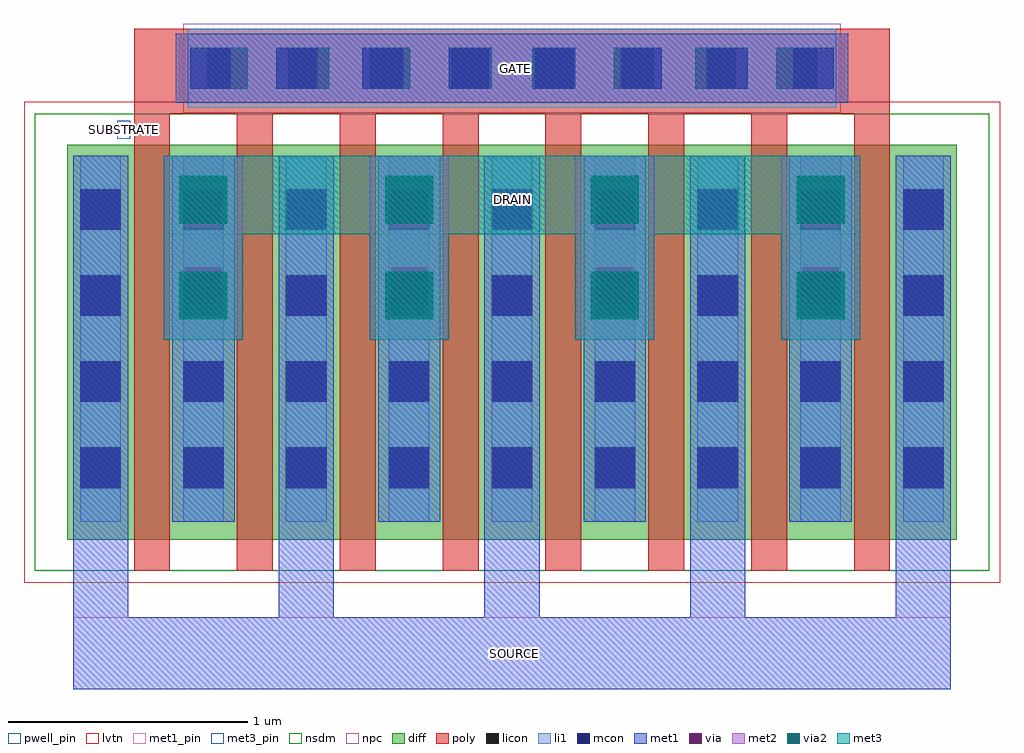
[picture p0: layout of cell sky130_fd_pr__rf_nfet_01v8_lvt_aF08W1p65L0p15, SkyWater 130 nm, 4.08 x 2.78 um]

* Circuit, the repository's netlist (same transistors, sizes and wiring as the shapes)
* Copyright 2020 The SkyWater PDK Authors
*
* Licensed under the Apache License, Version 2.0 (the "License");
* you may not use this file except in compliance with the License.
* You may obtain a copy of the License at
*
*     https://www.apache.org/licenses/LICENSE-2.0
*
* Unless required by applicable law or agreed to in writing, software
* distributed under the License is distributed on an "AS IS" BASIS,
* WITHOUT WARRANTIES OR CONDITIONS OF ANY KIND, either express or implied.
* See the License for the specific language governing permissions and
* limitations under the License.
*
* SPDX-License-Identifier: Apache-2.0


.subckt sky130_fd_pr__rf_nfet_01v8_lvt_aF08W1p65L0p15 DRAIN GATE SOURCE SUBSTRATE
X0 SOURCE GATE DRAIN SUBSTRATE sky130_fd_pr__nfet_01v8_lvt w=1.65e+06u l=150000u
X1 DRAIN GATE SOURCE SUBSTRATE sky130_fd_pr__nfet_01v8_lvt w=1.65e+06u l=150000u
X2 DRAIN GATE SOURCE SUBSTRATE sky130_fd_pr__nfet_01v8_lvt w=1.65e+06u l=150000u
X3 DRAIN GATE SOURCE SUBSTRATE sky130_fd_pr__nfet_01v8_lvt w=1.65e+06u l=150000u
X4 SOURCE GATE DRAIN SUBSTRATE sky130_fd_pr__nfet_01v8_lvt w=1.65e+06u l=150000u
X5 SOURCE GATE DRAIN SUBSTRATE sky130_fd_pr__nfet_01v8_lvt w=1.65e+06u l=150000u
X6 DRAIN GATE SOURCE SUBSTRATE sky130_fd_pr__nfet_01v8_lvt w=1.65e+06u l=150000u
X7 SOURCE GATE DRAIN SUBSTRATE sky130_fd_pr__nfet_01v8_lvt w=1.65e+06u l=150000u
.ends

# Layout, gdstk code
import gdstk
lib = gdstk.Library(unit=1e-6, precision=1e-09)
def R(c, l, rs):  # rectangles x0, y0, x1, y1
    for r in rs: c.add(gdstk.rectangle(r[:2], r[2:], *l))
def A(c, l, x, y, w, h, nx, ny, dx, dy):  # array of equal rectangles
    R(c, l, [(x+i*dx, y+j*dy, x+i*dx+w, y+j*dy+h) for i in range(nx) for j in range(ny)])
diff = (65, 20)
poly = (66, 20)
licon = (66, 44)
li1 = (67, 20)
mcon = (67, 44)
met1_pin = (68, 16)
met1 = (68, 20)
via = (68, 44)
met2 = (69, 20)
via2 = (69, 44)
met3_pin = (70, 16)
met3 = (70, 20)
nsdm = (93, 44)
npc = (95, 20)
pwell_pin = (122, 16)
lvtn = (125, 44)

sky130_fd_pr__rf_nfet_01 = lib.new_cell('sky130_fd_pr__rf_nfet_01v8_lvt_aF08W1p65L0p15')
A(sky130_fd_pr__rf_nfet_01, diff, 0.18, 0.18, 0.28, 1.65, 3, 1, 0.43, 0)
A(sky130_fd_pr__rf_nfet_01, diff, 0.21, 0.18, 0.25, 1.65, 4, 1, 0.86, 0)
A(sky130_fd_pr__rf_nfet_01, diff, 0.46, 0.18, 0.15, 1.65, 8, 1, 0.43, 0)
A(sky130_fd_pr__rf_nfet_01, diff, 1.04, 0.18, 0.28, 1.65, 3, 1, 0.43, 0)
A(sky130_fd_pr__rf_nfet_01, diff, 1.9, 0.18, 0.28, 1.65, 3, 1, 0.43, 0)
A(sky130_fd_pr__rf_nfet_01, diff, 2.76, 0.18, 0.28, 1.65, 3, 1, 0.43, 0)
R(sky130_fd_pr__rf_nfet_01, diff, [(3.62,0.18,3.9,1.83), (3.62,0.18,3.87,1.83), (3.65,0.18,3.9,1.83)])
A(sky130_fd_pr__rf_nfet_01, poly, 0.46, 0.05, 0.15, 0.13, 8, 2, 0.43, 1.78)
A(sky130_fd_pr__rf_nfet_01, poly, 0.46, 0.05, 0.15, 1.91, 8, 1, 0.43, 0)
R(sky130_fd_pr__rf_nfet_01, poly, [(0.46,1.96,3.62,2.315), (0.685,1.985,3.395,2.315)])
A(sky130_fd_pr__rf_nfet_01, licon, 0.235, 0.395, 0.17, 0.17, 9, 4, 0.43, 0.36)
A(sky130_fd_pr__rf_nfet_01, licon, 0.765, 2.065, 0.17, 0.17, 8, 1, 0.34, 0)
A(sky130_fd_pr__rf_nfet_01, li1, 0.235, 0.255, 0.17, 1.53, 9, 1, 0.43, 0)
R(sky130_fd_pr__rf_nfet_01, li1, [(0.685,1.985,3.395,2.315), (0.695,2.065,3.385,2.235)])
A(sky130_fd_pr__rf_nfet_01, mcon, 0.235, 0.395, 0.17, 0.17, 9, 4, 0.43, 0.36)
A(sky130_fd_pr__rf_nfet_01, mcon, 0.695, 2.065, 0.17, 0.17, 8, 1, 0.36, 0)
R(sky130_fd_pr__rf_nfet_01, met1_pin, [(0.205,-0.445,3.875,-0.145), (0.635,2.005,3.445,2.295)])
R(sky130_fd_pr__rf_nfet_01, met1, [(0.635,2.005,3.445,2.295)])
A(sky130_fd_pr__rf_nfet_01, via, 0.675, 1.165, 0.15, 0.15, 4, 2, 0.86, 0.32)
A(sky130_fd_pr__rf_nfet_01, met2, 0.585, 1.015, 0.33, 0.77, 4, 1, 0.86, 0)
A(sky130_fd_pr__rf_nfet_01, met2, 0.62, 1.08, 0.26, 0.64, 4, 1, 0.86, 0)
A(sky130_fd_pr__rf_nfet_01, via2, 0.65, 1.1, 0.2, 0.2, 4, 2, 0.86, 0.4)
R(sky130_fd_pr__rf_nfet_01, met3_pin, [(0.585,1.455,3.495,1.785)])
A(sky130_fd_pr__rf_nfet_01, met3, 0.585, 1.015, 0.33, 0.77, 4, 1, 0.86, 0)
A(sky130_fd_pr__rf_nfet_01, nsdm, 0.21, 0.05, 0.4, 1.91, 7, 1, 0.43, 0)
A(sky130_fd_pr__rf_nfet_01, nsdm, 0.48, 0.05, 0.54, 1.91, 7, 1, 0.43, 0)
R(sky130_fd_pr__rf_nfet_01, nsdm, [(0.045,0.05,0.59,1.96), (3.22,0.05,3.87,1.96), (3.49,0.05,4.035,1.96)])
R(sky130_fd_pr__rf_nfet_01, npc, [(0.665,1.965,3.415,2.335)])
R(sky130_fd_pr__rf_nfet_01, pwell_pin, [(0.39,1.855,0.445,1.93)])
R(sky130_fd_pr__rf_nfet_01, lvtn, [(0,0,4.08,2.01)])
sky130_fd_pr__rf_nfet_01.add(gdstk.FlexPath([(0.585,1.62),(3.495,1.62)], 0.33, ends="flush", simple_path=True, layer=70, datatype=20))  # met3
sky130_fd_pr__rf_nfet_01.add(gdstk.FlexPath([(0.32,1.785),(0.32,-0.445)], 0.23, ends="flush", simple_path=True, layer=68, datatype=20))  # met1
sky130_fd_pr__rf_nfet_01.add(gdstk.FlexPath([(0.75,1.785),(0.75,0.255)], 0.26, ends="flush", simple_path=True, layer=68, datatype=20))  # met1
sky130_fd_pr__rf_nfet_01.add(gdstk.FlexPath([(1.61,1.785),(1.61,0.255)], 0.26, ends="flush", simple_path=True, layer=68, datatype=20))  # met1
sky130_fd_pr__rf_nfet_01.add(gdstk.FlexPath([(2.47,1.785),(2.47,0.255)], 0.26, ends="flush", simple_path=True, layer=68, datatype=20))  # met1
sky130_fd_pr__rf_nfet_01.add(gdstk.FlexPath([(3.33,1.785),(3.33,0.255)], 0.26, ends="flush", simple_path=True, layer=68, datatype=20))  # met1
sky130_fd_pr__rf_nfet_01.add(gdstk.FlexPath([(1.18,1.785),(1.18,-0.445)], 0.23, ends="flush", simple_path=True, layer=68, datatype=20))  # met1
sky130_fd_pr__rf_nfet_01.add(gdstk.FlexPath([(0.205,-0.295),(3.875,-0.295)], 0.3, ends="flush", simple_path=True, layer=68, datatype=20))  # met1
sky130_fd_pr__rf_nfet_01.add(gdstk.FlexPath([(2.04,1.785),(2.04,-0.445)], 0.23, ends="flush", simple_path=True, layer=68, datatype=20))  # met1
sky130_fd_pr__rf_nfet_01.add(gdstk.FlexPath([(3.76,1.785),(3.76,-0.445)], 0.23, ends="flush", simple_path=True, layer=68, datatype=20))  # met1
sky130_fd_pr__rf_nfet_01.add(gdstk.FlexPath([(2.9,1.785),(2.9,-0.445)], 0.23, ends="flush", simple_path=True, layer=68, datatype=20))  # met1
sky130_fd_pr__rf_nfet_01.add(gdstk.Label('DRAIN', (2.04,1.6), layer=70, texttype=16))
sky130_fd_pr__rf_nfet_01.add(gdstk.Label('GATE', (2.055,2.15), layer=68, texttype=16))
sky130_fd_pr__rf_nfet_01.add(gdstk.Label('SOURCE', (2.05,-0.295), layer=68, texttype=16))
sky130_fd_pr__rf_nfet_01.add(gdstk.Label('SUBSTRATE', (0.42,1.895), layer=64, texttype=59))

lib.write_gds('sky130_fd_pr__rf_nfet_01v8_lvt_aF08W1p65L0p15.gds')
